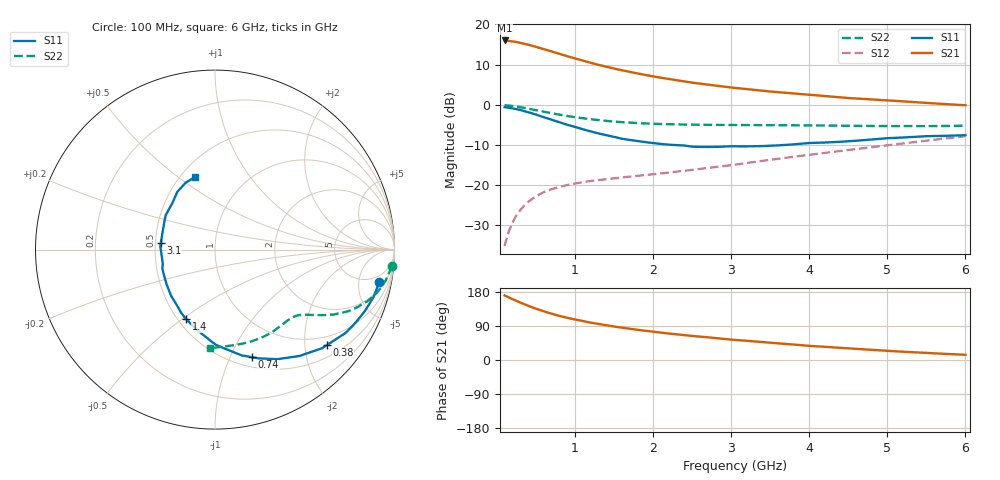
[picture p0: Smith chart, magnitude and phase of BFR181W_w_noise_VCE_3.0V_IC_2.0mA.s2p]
! Infineon Technologies  Discrete & RF Semiconductors
! BFR181W
! VCE =  3.0 V,  IC =  2.0 mA
! Common Emitter S-Parameters:  Nov 2015
# GHz  S  MA  R  50
!  f  S11  S21  S12  S22
! GHz  MAG  ANG  MAG  ANG  MAG  ANG  MAG  ANG
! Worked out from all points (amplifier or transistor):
!   192 points, 100 MHz to 6 GHz, reference 50 ohm
!   highest |S21| = 16.0 dB at 100 MHz (marker M1)
!   |S21| within 3 dB of that: start of sweep to 748.8 MHz
!   unconditionally stable (mu >= 1): 2.051 GHz to 3.55 GHz
!   at 440 MHz: K = 0.29, MSG = 19.2 dB, |S12| = -23.6 dB
!   at 1.7 GHz: K = 0.91, MSG = 13.0 dB, |S12| = -17.9 dB
!   at 6 GHz: K = 0.79, MSG = 3.8 dB, |S12| = -7.8 dB
!   lowest NFmin = 1.35 dB at 450 MHz
!   S11 on the Smith chart (normalised r, x): 100 MHz: 3.16, -9.01; 380 MHz: 0.77, -2.50; 740 MHz: 0.60, -1.21; 1.4 GHz: 0.55, -0.52; 3.1 GHz: 0.53, +0.04; 6 GHz: 0.59, +0.57
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0.1  0.9337 -11.3  6.294 170.3  0.0175 82.7  0.9878 -5.3
0.155  0.9189 -17.4  6.223 164.8  0.0269 79.6  0.9769 -8.0
0.24  0.8861 -26.5  6.047 157.0  0.0405 74.5  0.9536 -12.1
0.3  0.8629 -32.6  5.884 151.7  0.049 71.3  0.9346 -14.8
0.38  0.8195 -40.5  5.645 144.7  0.0594 67.3  0.9039 -17.9
0.4  0.8113 -42.6  5.599 142.9  0.062 66.5  0.8967 -18.7
0.5  0.757 -51.5  5.266 135.4  0.0726 62.1  0.8574 -21.9
0.6  0.7027 -60.3  4.937 128.4  0.082 58.5  0.8201 -24.7
0.74  0.6341 -71.0  4.482 119.8  0.0916 55.0  0.7722 -27.5
0.8  0.6087 -75.7  4.311 116.4  0.0953 53.7  0.7533 -28.7
0.9  0.5648 -82.4  4.013 111.4  0.1007 51.9  0.7256 -30.1
1  0.5316 -89.3  3.77 106.8  0.1052 50.8  0.701 -31.4
1.1  0.4969 -94.7  3.535 103.0  0.1091 49.9  0.6805 -32.4
1.2  0.4672 -100.9  3.318 98.6  0.113 49.0  0.6603 -33.5
1.4  0.4193 -112.7  2.969 91.5  0.1191 48.5  0.6303 -35.2
1.68  0.3679 -127.3  2.588 83.1  0.1274 49.1  0.6014 -37.3
2.08  0.3275 -146.6  2.184 72.7  0.1396 51.2  0.5771 -40.4
2.5  0.3014 -164.6  1.884 63.4  0.1551 53.9  0.5655 -44.0
3.1  0.3042 173.2  1.601 52.3  0.1833 57.4  0.5601 -50.6
4.1  0.3368 142.6  1.308 36.1  0.2458 59.4  0.5532 -63.9
5.1  0.3879 121.2  1.12 23.0  0.3219 57.9  0.5427 -79.0
6  0.4186 105.7  0.985 13.7  0.4068 54.1  0.5497 -92.8
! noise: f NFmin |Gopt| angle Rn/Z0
0.45  1.35  0.6  17  0.4
0.9  1.45  0.5  36  0.4
1.8  1.8  0.31  80  0.37
